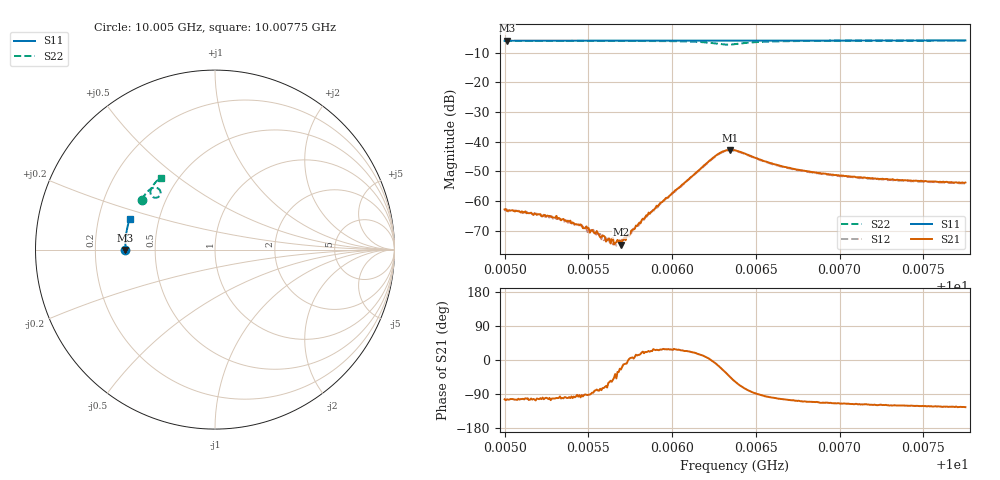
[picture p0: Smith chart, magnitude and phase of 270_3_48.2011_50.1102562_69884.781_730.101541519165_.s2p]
#  HZ  S  RI  R  50.00
! Rohde & Schwarz Vector Network Analyzer
! Rohde-Schwarz,ZNB20-2Port,1311601062101988,3.16
! Created: UTC 3/20/2024, 11:48:08 AM
! freq[Hz]  re:S11  im:S11  re:S21  im:S21  re:S12  im:S12  re:S22  im:S22
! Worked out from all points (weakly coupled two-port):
!   401 points, 10.005 GHz to 10.00775 GHz, reference 50 ohm
!   highest |S21| = -42.73 dB at 10.00635 GHz (marker M1); lowest = -74.6 dB at 10.00569 GHz (marker M2)
!   lowest |S11| = -6.0 dB at 10.00501 GHz (marker M3), VSWR 3.00, Z = 16.7 - j0.0604 ohm
!   |S11| at or under -10 dB: nowhere
!   |S22| runs from -7.3 to -6.0 dB; largest |S21 - S12| = 0.00042
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1.0005e10  -0.4996 -0.00219  -0.000172 -0.000707  -0.000133 -0.000669  -0.4092 0.2779
1.0005014e10  -0.4996 -0.00136  -0.000162 -0.000666  -0.000129 -0.000713  -0.4087 0.2786
1.0005193e10  -0.4999 0.0102  -0.000119 -0.000576  -0.000135 -0.000602  -0.4018 0.2893
1.0005316e10  -0.4999 0.0184  -9.24e-05 -0.000498  -8.4e-05 -0.0005  -0.3971 0.2967
1.0005461e10  -0.4997 0.0278  -1.78e-05 -0.000386  7.6e-09 -0.000395  -0.3906 0.3053
1.0005502e10  -0.4997 0.0304  -1.11e-05 -0.000352  7.8e-06 -0.00033  -0.3889 0.3079
1.0005536e10  -0.4997 0.0327  4.42e-05 -0.000286  3.75e-05 -0.000291  -0.3872 0.31
1.0005619e10  -0.4994 0.0379  0.000111 -0.000198  0.000107 -0.000212  -0.3831 0.3152
1.000564e10  -0.4993 0.0393  0.000123 -0.000192  0.000126 -0.000174  -0.3821 0.3163
1.000566e10  -0.4994 0.0407  0.000158 -0.000119  0.000142 -0.000135  -0.3808 0.3176
1.0005695e10  -0.4993 0.0429  0.000168 -7.84e-05  0.000158 -7.64e-05  -0.3791 0.3198
1.0005708e10  -0.4991 0.0437  0.000215 -4.53e-05  0.000221 -4e-05  -0.3782 0.3207
1.0005832e10  -0.4986 0.0518  0.000477 0.000154  0.000447 0.000187  -0.3706 0.3286
1.0005922e10  -0.4981 0.0575  0.000785 0.000379  0.000755 0.000423  -0.3635 0.3344
1.0006252e10  -0.4954 0.0789  0.00552 -0.000617  0.00543 -0.000315  -0.3069 0.3304
1.00063e10  -0.4948 0.0816  0.00619 -0.00283  0.00619 -0.00247  -0.304 0.3101
1.0006348e10  -0.4946 0.0845  0.00509 -0.00524  0.00525 -0.00487  -0.3175 0.2919
1.0006376e10  -0.4943 0.0861  0.00395 -0.006  0.00412 -0.00567  -0.3294 0.2888
1.000661e10  -0.4926 0.1011  -0.000709 -0.00413  -0.000554 -0.00409  -0.3595 0.3282
1.0006837e10  -0.4898 0.1156  -0.00108 -0.00289  -0.000948 -0.00288  -0.3498 0.3512
1.0007297e10  -0.4831 0.1448  -0.00116 -0.002  -0.00103 -0.00204  -0.3264 0.3795
1.0007751e10  -0.4747 0.1727  -0.00117 -0.0017  -0.00103 -0.00168  -0.3034 0.4011
